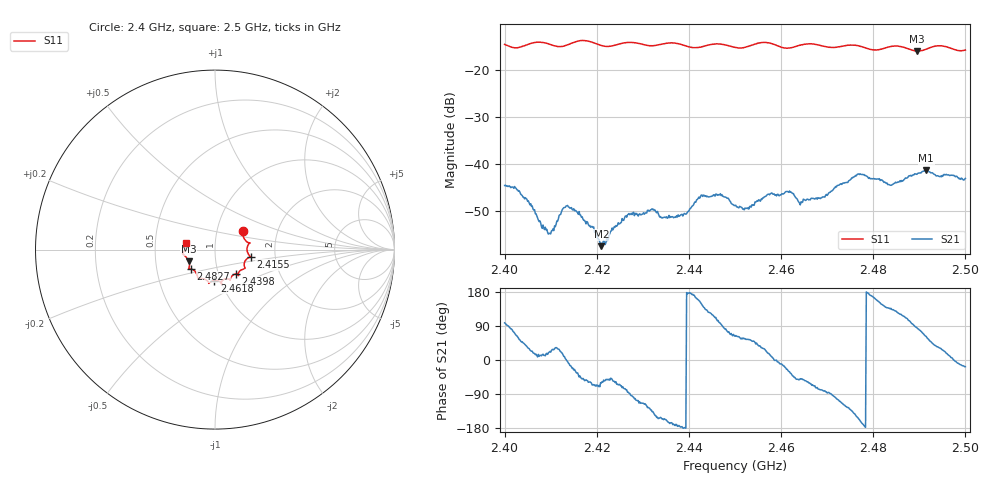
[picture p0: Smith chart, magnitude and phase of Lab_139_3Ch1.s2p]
# Hz S RI R 50
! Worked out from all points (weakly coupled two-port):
!   601 points, 2.4 GHz to 2.5 GHz, reference 50 ohm
!   highest |S21| = -41.26 dB at 2.4915 GHz (marker M1); lowest = -57.4 dB at 2.421 GHz (marker M2)
!   lowest |S11| = -15.9 dB at 2.4895 GHz (marker M3), VSWR 1.38, Z = 37 - j5.03 ohm
!   |S11| at or under -10 dB: start of sweep to end of sweep
!   S12 and S22 are empty: the file has one direction only
!   S11 on the Smith chart (normalised r, x): 2.4 GHz: 1.33, +0.29; 2.4155 GHz: 1.49, -0.12; 2.4398 GHz: 1.21, -0.34; 2.4618 GHz: 0.94, -0.33; 2.4827 GHz: 0.75, -0.17; 2.5 GHz: 0.72, +0.06
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2.4e9  0.1554 0.1064  -0.000828 0.00589  0 0  0 0
2.402667e9  0.1614 0.0633  0.00238 0.0048  0 0  0 0
2.4095e9  0.1882 0.0316  0.00171 0.000585  0 0  0 0
2.413167e9  0.1819 -0.0168  0.00347 0.000229  0 0  0 0
2.4155e9  0.1979 -0.0398  0.00269 -0.00172  0 0  0 0
2.416667e9  0.2026 -0.0433  0.00181 -0.00204  0 0  0 0
2.421e9  0.1753 -0.0536  0.000664 -0.00117  0 0  0 0
2.426667e9  0.1684 -0.1033  0.00026 -0.00288  0 0  0 0
2.433333e9  0.1297 -0.1338  -0.00271 -0.00129  0 0  0 0
2.439833e9  0.1156 -0.1357  -0.00314 0.000191  0 0  0 0
2.443167e9  0.0883 -0.1564  -0.00357 0.00304  0 0  0 0
2.446833e9  0.0842 -0.1703  -0.000542 0.00483  0 0  0 0
2.45e9  0.0649 -0.1625  0.00167 0.00323  0 0  0 0
2.461833e9  -0.00385 -0.1724  0.00445 -0.00268  0 0  0 0
2.464167e9  -0.0293 -0.1827  0.0024 -0.0028  0 0  0 0
2.466667e9  -0.0346 -0.1877  0.00172 -0.004  0 0  0 0
2.477e9  -0.0969 -0.153  -0.00719 -0.00296  0 0  0 0
2.482667e9  -0.1348 -0.1084  -0.00485 0.00415  0 0  0 0
2.483333e9  -0.1399 -0.108  -0.00443 0.00417  0 0  0 0
2.4895e9  -0.1457 -0.0662  0.000734 0.00778  0 0  0 0
2.4915e9  -0.163 -0.0395  0.00405 0.00764  0 0  0 0
2.5e9  -0.1594 0.0388  0.00674 -0.00214  0 0  0 0
